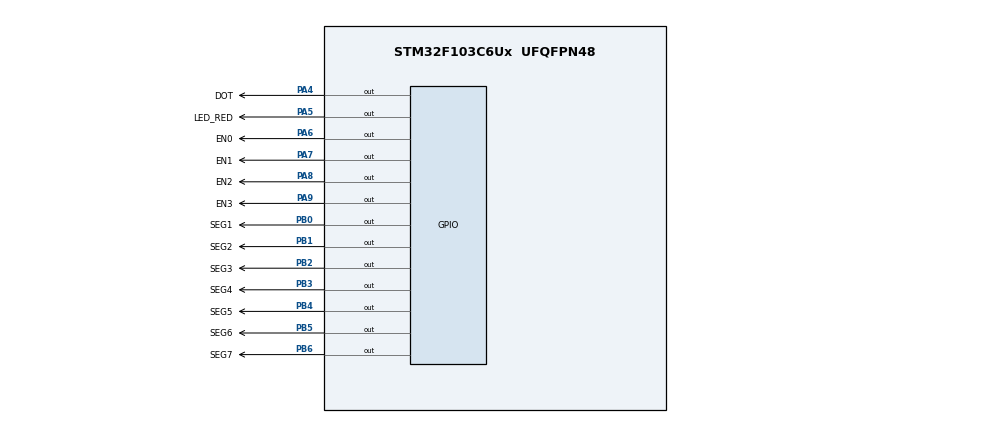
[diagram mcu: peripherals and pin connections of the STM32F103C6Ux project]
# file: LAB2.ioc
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Mcu.Family=STM32F1
Mcu.Name=STM32F103C6Ux
Mcu.Package=UFQFPN48
NVIC.PriorityGroup=NVIC_PRIORITYGROUP_4
NVIC.TIM2_IRQn=true\:0\:0\:false\:false\:true\:true\:true
PA4.GPIO_Label=DOT
PA4.Signal=GPIO_Output
PA5.GPIO_Label=LED_RED
PA5.Signal=GPIO_Output
PA6.GPIO_Label=EN0
PA6.Signal=GPIO_Output
PA7.GPIO_Label=EN1
PA7.Signal=GPIO_Output
PA8.GPIO_Label=EN2
PA8.Signal=GPIO_Output
PA9.GPIO_Label=EN3
PA9.Signal=GPIO_Output
PB0.GPIO_Label=SEG1
PB0.Signal=GPIO_Output
PB1.GPIO_Label=SEG2
PB1.Signal=GPIO_Output
PB2.GPIO_Label=SEG3
PB2.Signal=GPIO_Output
PB3.GPIO_Label=SEG4
PB3.Signal=GPIO_Output
PB4.GPIO_Label=SEG5
PB4.Signal=GPIO_Output
PB5.GPIO_Label=SEG6
PB5.Signal=GPIO_Output
PB6.GPIO_Label=SEG7
PB6.Signal=GPIO_Output
ProjectManager.HeapSize=0x200
ProjectManager.StackSize=0x400
ProjectManager.TargetToolchain=STM32CubeIDE
RCC.APB1Freq_Value=8000000
RCC.APB2Freq_Value=8000000
TIM2.Period=9
TIM2.Prescaler=7999
VP_SYS_VS_ND.Mode=No_Debug
VP_TIM2_VS_ClockSourceINT.Mode=Internal
board=custom

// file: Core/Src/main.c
/* USER CODE BEGIN Header */
/**
  ******************************************************************************
  * @file           : main.c
  * @brief          : Main program body
  ******************************************************************************
  * @attention
  *
  * <h2><center>&copy; Copyright (c) 2024 STMicroelectronics.
  * All rights reserved.</center></h2>
  *
  * This software component is licensed by ST under BSD 3-Clause license,
  * the "License"; You may not use this file except in compliance with the
  * License. You may obtain a copy of the License at:
  *                        opensource.org/licenses/BSD-3-Clause
  *
  ******************************************************************************
  */
/* USER CODE END Header */
#include "main.h"
#include "timer.h"

TIM_HandleTypeDef htim2;

void SystemClock_Config(void);
static void MX_GPIO_Init(void);
static void MX_TIM2_Init(void);

/* USER CODE BEGIN 0 */
void display7SEG(int num)
{
	switch(num)
	{
	case 0:
			HAL_GPIO_WritePin(SEG1_GPIO_Port, SEG1_Pin, 0);
			HAL_GPIO_WritePin(SEG2_GPIO_Port, SEG2_Pin, 0);
			HAL_GPIO_WritePin(SEG3_GPIO_Port, SEG3_Pin, 0);
			HAL_GPIO_WritePin(SEG4_GPIO_Port, SEG4_Pin, 0);
			HAL_GPIO_WritePin(SEG5_GPIO_Port, SEG5_Pin, 0);
			HAL_GPIO_WritePin(SEG6_GPIO_Port, SEG6_Pin, 0);
			HAL_GPIO_WritePin(SEG7_GPIO_Port, SEG7_Pin, 1);
			break;
	case 1:
			HAL_GPIO_WritePin(SEG1_GPIO_Port, SEG1_Pin, 1);
			HAL_GPIO_WritePin(SEG2_GPIO_Port, SEG2_Pin, 0);
			HAL_GPIO_WritePin(SEG3_GPIO_Port, SEG3_Pin, 0);
			HAL_GPIO_WritePin(SEG4_GPIO_Port, SEG4_Pin, 1);
			HAL_GPIO_WritePin(SEG5_GPIO_Port, SEG5_Pin, 1);
			HAL_GPIO_WritePin(SEG6_GPIO_Port, SEG6_Pin, 1);
			HAL_GPIO_WritePin(SEG7_GPIO_Port, SEG7_Pin, 1);
			break;
	case 2:
			HAL_GPIO_WritePin(SEG1_GPIO_Port, SEG1_Pin, 0);
			HAL_GPIO_WritePin(SEG2_GPIO_Port, SEG2_Pin, 0);
			HAL_GPIO_WritePin(SEG3_GPIO_Port, SEG3_Pin, 1);
			HAL_GPIO_WritePin(SEG4_GPIO_Port, SEG4_Pin, 0);
			HAL_GPIO_WritePin(SEG5_GPIO_Port, SEG5_Pin, 0);
			HAL_GPIO_WritePin(SEG6_GPIO_Port, SEG6_Pin, 1);
			HAL_GPIO_WritePin(SEG7_GPIO_Port, SEG7_Pin, 0);
			break;
	case 3:
			HAL_GPIO_WritePin(SEG1_GPIO_Port, SEG1_Pin, 0);
			HAL_GPIO_WritePin(SEG2_GPIO_Port, SEG2_Pin, 0);
			HAL_GPIO_WritePin(SEG3_GPIO_Port, SEG3_Pin, 0);
			HAL_GPIO_WritePin(SEG4_GPIO_Port, SEG4_Pin, 0);
			HAL_GPIO_WritePin(SEG5_GPIO_Port, SEG5_Pin, 1);
			HAL_GPIO_WritePin(SEG6_GPIO_Port, SEG6_Pin, 1);
			HAL_GPIO_WritePin(SEG7_GPIO_Port, SEG7_Pin, 0);
			break;
	case 4:
			HAL_GPIO_WritePin(SEG1_GPIO_Port, SEG1_Pin, 1);
			HAL_GPIO_WritePin(SEG2_GPIO_Port, SEG2_Pin, 0);
			HAL_GPIO_WritePin(SEG3_GPIO_Port, SEG3_Pin, 0);
			HAL_GPIO_WritePin(SEG4_GPIO_Port, SEG4_Pin, 1);
			HAL_GPIO_WritePin(SEG5_GPIO_Port, SEG5_Pin, 1);
			HAL_GPIO_WritePin(SEG6_GPIO_Port, SEG6_Pin, 0);
			HAL_GPIO_WritePin(SEG7_GPIO_Port, SEG7_Pin, 0);
			break;
	case 5:
			HAL_GPIO_WritePin(SEG1_GPIO_Port, SEG1_Pin, 0);
			HAL_GPIO_WritePin(SEG2_GPIO_Port, SEG2_Pin, 1);
			HAL_GPIO_WritePin(SEG3_GPIO_Port, SEG3_Pin, 0);
			HAL_GPIO_WritePin(SEG4_GPIO_Port, SEG4_Pin, 0);
			HAL_GPIO_WritePin(SEG5_GPIO_Port, SEG5_Pin, 1);
			HAL_GPIO_WritePin(SEG6_GPIO_Port, SEG6_Pin, 0);
			HAL_GPIO_WritePin(SEG7_GPIO_Port, SEG7_Pin, 0);
			break;
	case 6:
			HAL_GPIO_WritePin(SEG1_GPIO_Port, SEG1_Pin, 0);
			HAL_GPIO_WritePin(SEG2_GPIO_Port, SEG2_Pin, 1);
			HAL_GPIO_WritePin(SEG3_GPIO_Port, SEG3_Pin, 0);
			HAL_GPIO_WritePin(SEG4_GPIO_Port, SEG4_Pin, 0);
			HAL_GPIO_WritePin(SEG5_GPIO_Port, SEG5_Pin, 0);
			HAL_GPIO_WritePin(SEG6_GPIO_Port, SEG6_Pin, 0);
			HAL_GPIO_WritePin(SEG7_GPIO_Port, SEG7_Pin, 0);
			break;
	case 7:
			HAL_GPIO_WritePin(SEG1_GPIO_Port, SEG1_Pin, 0);
			HAL_GPIO_WritePin(SEG2_GPIO_Port, SEG2_Pin, 0);
			HAL_GPIO_WritePin(SEG3_GPIO_Port, SEG3_Pin, 0);
			HAL_GPIO_WritePin(SEG4_GPIO_Port, SEG4_Pin, 1);
			HAL_GPIO_WritePin(SEG5_GPIO_Port, SEG5_Pin, 1);
			HAL_GPIO_WritePin(SEG6_GPIO_Port, SEG6_Pin, 1);
			HAL_GPIO_WritePin(SEG7_GPIO_Port, SEG7_Pin, 1);
			break;
	case 8:
			HAL_GPIO_WritePin(SEG1_GPIO_Port, SEG1_Pin, 0);
			HAL_GPIO_WritePin(SEG2_GPIO_Port, SEG2_Pin, 0);
			HAL_GPIO_WritePin(SEG3_GPIO_Port, SEG3_Pin, 0);
			HAL_GPIO_WritePin(SEG4_GPIO_Port, SEG4_Pin, 0);
			HAL_GPIO_WritePin(SEG5_GPIO_Port, SEG5_Pin, 0);
			HAL_GPIO_WritePin(SEG6_GPIO_Port, SEG6_Pin, 0);
			HAL_GPIO_WritePin(SEG7_GPIO_Port, SEG7_Pin, 0);
			break;
	case 9:
			HAL_GPIO_WritePin(SEG1_GPIO_Port, SEG1_Pin, 0);
			HAL_GPIO_WritePin(SEG2_GPIO_Port, SEG2_Pin, 0);
			HAL_GPIO_WritePin(SEG3_GPIO_Port, SEG3_Pin, 0);
			HAL_GPIO_WritePin(SEG4_GPIO_Port, SEG4_Pin, 0);
			HAL_GPIO_WritePin(SEG5_GPIO_Port, SEG5_Pin, 1);
			HAL_GPIO_WritePin(SEG6_GPIO_Port, SEG6_Pin, 0);
			HAL_GPIO_WritePin(SEG7_GPIO_Port, SEG7_Pin, 0);
			break;
	}
}
/* USER CODE END 0 */
const int MAX_LED = 4;
int index_led = 0;
int led_buffer[4] = {1, 2, 3, 4};
void update7SEG(int index)
{
	switch(index)
	{
	case 0:
			display7SEG(led_buffer[0]);
			HAL_GPIO_WritePin(EN0_GPIO_Port, EN0_Pin, 0);
			HAL_GPIO_WritePin(EN1_GPIO_Port, EN1_Pin, 1);
			HAL_GPIO_WritePin(EN2_GPIO_Port, EN2_Pin, 1);
			HAL_GPIO_WritePin(EN3_GPIO_Port, EN3_Pin, 1);
			break;
	case 1:
			display7SEG(led_buffer[1]);
			HAL_GPIO_WritePin(EN0_GPIO_Port, EN0_Pin, 1);
			HAL_GPIO_WritePin(EN1_GPIO_Port, EN1_Pin, 0);
			HAL_GPIO_WritePin(EN2_GPIO_Port, EN2_Pin, 1);
			HAL_GPIO_WritePin(EN3_GPIO_Port, EN3_Pin, 1);
			break;
	case 2:
			display7SEG(led_buffer[2]);
			HAL_GPIO_WritePin(EN0_GPIO_Port, EN0_Pin, 1);
			HAL_GPIO_WritePin(EN1_GPIO_Port, EN1_Pin, 1);
			HAL_GPIO_WritePin(EN2_GPIO_Port, EN2_Pin, 0);
			HAL_GPIO_WritePin(EN3_GPIO_Port, EN3_Pin, 1);
			break;
	case 3:
			display7SEG(led_buffer[3]);
			HAL_GPIO_WritePin(EN0_GPIO_Port, EN0_Pin, 1);
			HAL_GPIO_WritePin(EN1_GPIO_Port, EN1_Pin, 1);
			HAL_GPIO_WritePin(EN2_GPIO_Port, EN2_Pin, 1);
			HAL_GPIO_WritePin(EN3_GPIO_Port, EN3_Pin, 0);
			break;
	default:
			break;
	}
}
void updateClockBuffer(int hour, int minute)
{
	led_buffer[0] = hour/10;
	led_buffer[1] = hour%10;
	led_buffer[2] = minute/10;
	led_buffer[3] = minute%10;
}

int main(void)
{

  /* MCU Configuration--------------------------------------------------------*/

  /* Reset of all peripherals, Initializes the Flash interface and the Systick. */
  HAL_Init();

  /* Configure the system clock */
  SystemClock_Config();

  /* Initialize all configured peripherals */
  MX_GPIO_Init();
  MX_TIM2_Init();
  /* USER CODE BEGIN 2 */
  HAL_TIM_Base_Start_IT(&htim2);
  /* USER CODE END 2 */

  /* Infinite loop */
  /* USER CODE BEGIN WHILE */
  int hour = 15;
  int minute = 5;
  int second = 60;
  setTimer1(100);
  setTimer2(25);
  while (1)
  {
    /* USER CODE END WHILE */
	  if(timer1_flag == 1){
	  		  second ++;
	  		  HAL_GPIO_TogglePin(DOT_GPIO_Port, DOT_Pin);
	  		  setTimer1(100);
	  	  }
	  if(timer2_flag == 1)
	  {
		  update7SEG(index_led++);
		  setTimer2(25);
	  }
	  if(index_led > 3)
	  {
		  index_led = 0;
	  }
	  if(second >= 60)
	  {
		  minute++;
		  second = 0;
	  }
	  if(minute >= 60)
	  {
		  hour++;
		  minute = 0;
	  }
	  if(hour >= 24)
	  {
		  hour = 0;
	  }
	  updateClockBuffer(hour, minute);
  }
}

void SystemClock_Config(void)
{
  RCC_OscInitTypeDef RCC_OscInitStruct = {0};
  RCC_ClkInitTypeDef RCC_ClkInitStruct = {0};

  /** Initializes the RCC Oscillators according to the specified parameters
  * in the RCC_OscInitTypeDef structure.
  */
  RCC_OscInitStruct.OscillatorType = RCC_OSCILLATORTYPE_HSI;
  RCC_OscInitStruct.HSIState = RCC_HSI_ON;
  RCC_OscInitStruct.HSICalibrationValue = RCC_HSICALIBRATION_DEFAULT;
  RCC_OscInitStruct.PLL.PLLState = RCC_PLL_NONE;
  if (HAL_RCC_OscConfig(&RCC_OscInitStruct) != HAL_OK)
  {
    Error_Handler();
  }
  /** Initializes the CPU, AHB and APB buses clocks
  */
  RCC_ClkInitStruct.ClockType = RCC_CLOCKTYPE_HCLK|RCC_CLOCKTYPE_SYSCLK
                              |RCC_CLOCKTYPE_PCLK1|RCC_CLOCKTYPE_PCLK2;
  RCC_ClkInitStruct.SYSCLKSource = RCC_SYSCLKSOURCE_HSI;
  RCC_ClkInitStruct.AHBCLKDivider = RCC_SYSCLK_DIV1;
  RCC_ClkInitStruct.APB1CLKDivider = RCC_HCLK_DIV1;
  RCC_ClkInitStruct.APB2CLKDivider = RCC_HCLK_DIV1;

  if (HAL_RCC_ClockConfig(&RCC_ClkInitStruct, FLASH_LATENCY_0) != HAL_OK)
  {
    Error_Handler();
  }
}

static void MX_TIM2_Init(void)
{

  TIM_ClockConfigTypeDef sClockSourceConfig = {0};
  TIM_MasterConfigTypeDef sMasterConfig = {0};

  htim2.Instance = TIM2;
  htim2.Init.Prescaler = 7999;
  htim2.Init.CounterMode = TIM_COUNTERMODE_UP;
  htim2.Init.Period = 9;
  htim2.Init.ClockDivision = TIM_CLOCKDIVISION_DIV1;
  htim2.Init.AutoReloadPreload = TIM_AUTORELOAD_PRELOAD_DISABLE;
  if (HAL_TIM_Base_Init(&htim2) != HAL_OK)
  {
    Error_Handler();
  }
  sClockSourceConfig.ClockSource = TIM_CLOCKSOURCE_INTERNAL;
  if (HAL_TIM_ConfigClockSource(&htim2, &sClockSourceConfig) != HAL_OK)
  {
    Error_Handler();
  }
  sMasterConfig.MasterOutputTrigger = TIM_TRGO_RESET;
  sMasterConfig.MasterSlaveMode = TIM_MASTERSLAVEMODE_DISABLE;
  if (HAL_TIMEx_MasterConfigSynchronization(&htim2, &sMasterConfig) != HAL_OK)
  {
    Error_Handler();
  }

}

static void MX_GPIO_Init(void)
{
  GPIO_InitTypeDef GPIO_InitStruct = {0};

  /* GPIO Ports Clock Enable */
  __HAL_RCC_GPIOA_CLK_ENABLE();
  __HAL_RCC_GPIOB_CLK_ENABLE();

  /*Configure GPIO pin Output Level */
  HAL_GPIO_WritePin(GPIOA, DOT_Pin|LED_RED_Pin|EN0_Pin|EN1_Pin
                          |EN2_Pin|EN3_Pin, GPIO_PIN_RESET);

  /*Configure GPIO pin Output Level */
  HAL_GPIO_WritePin(GPIOB, SEG1_Pin|SEG2_Pin|SEG3_Pin|SEG4_Pin
                          |SEG5_Pin|SEG6_Pin|SEG7_Pin, GPIO_PIN_RESET);

  /*Configure GPIO pins : DOT_Pin LED_RED_Pin EN0_Pin EN1_Pin
                           EN2_Pin EN3_Pin */
  GPIO_InitStruct.Pin = DOT_Pin|LED_RED_Pin|EN0_Pin|EN1_Pin
                          |EN2_Pin|EN3_Pin;
  GPIO_InitStruct.Mode = GPIO_MODE_OUTPUT_PP;
  GPIO_InitStruct.Pull = GPIO_NOPULL;
  GPIO_InitStruct.Speed = GPIO_SPEED_FREQ_LOW;
  HAL_GPIO_Init(GPIOA, &GPIO_InitStruct);

  /*Configure GPIO pins : SEG1_Pin SEG2_Pin SEG3_Pin SEG4_Pin
                           SEG5_Pin SEG6_Pin SEG7_Pin */
  GPIO_InitStruct.Pin = SEG1_Pin|SEG2_Pin|SEG3_Pin|SEG4_Pin
                          |SEG5_Pin|SEG6_Pin|SEG7_Pin;
  GPIO_InitStruct.Mode = GPIO_MODE_OUTPUT_PP;
  GPIO_InitStruct.Pull = GPIO_NOPULL;
  GPIO_InitStruct.Speed = GPIO_SPEED_FREQ_LOW;
  HAL_GPIO_Init(GPIOB, &GPIO_InitStruct);

}

/* USER CODE BEGIN 4 */
//int status = 0;
//int counter = 50;
//int dotcounter = 100;
void HAL_TIM_PeriodElapsedCallback(TIM_HandleTypeDef *htim)
{
	timerRun();
}
/* USER CODE END 4 */

void Error_Handler(void)
{
  __disable_irq();
  while (1)
  {
  }
}

/************************ (C) COPYRIGHT STMicroelectronics *****END OF FILE****/
